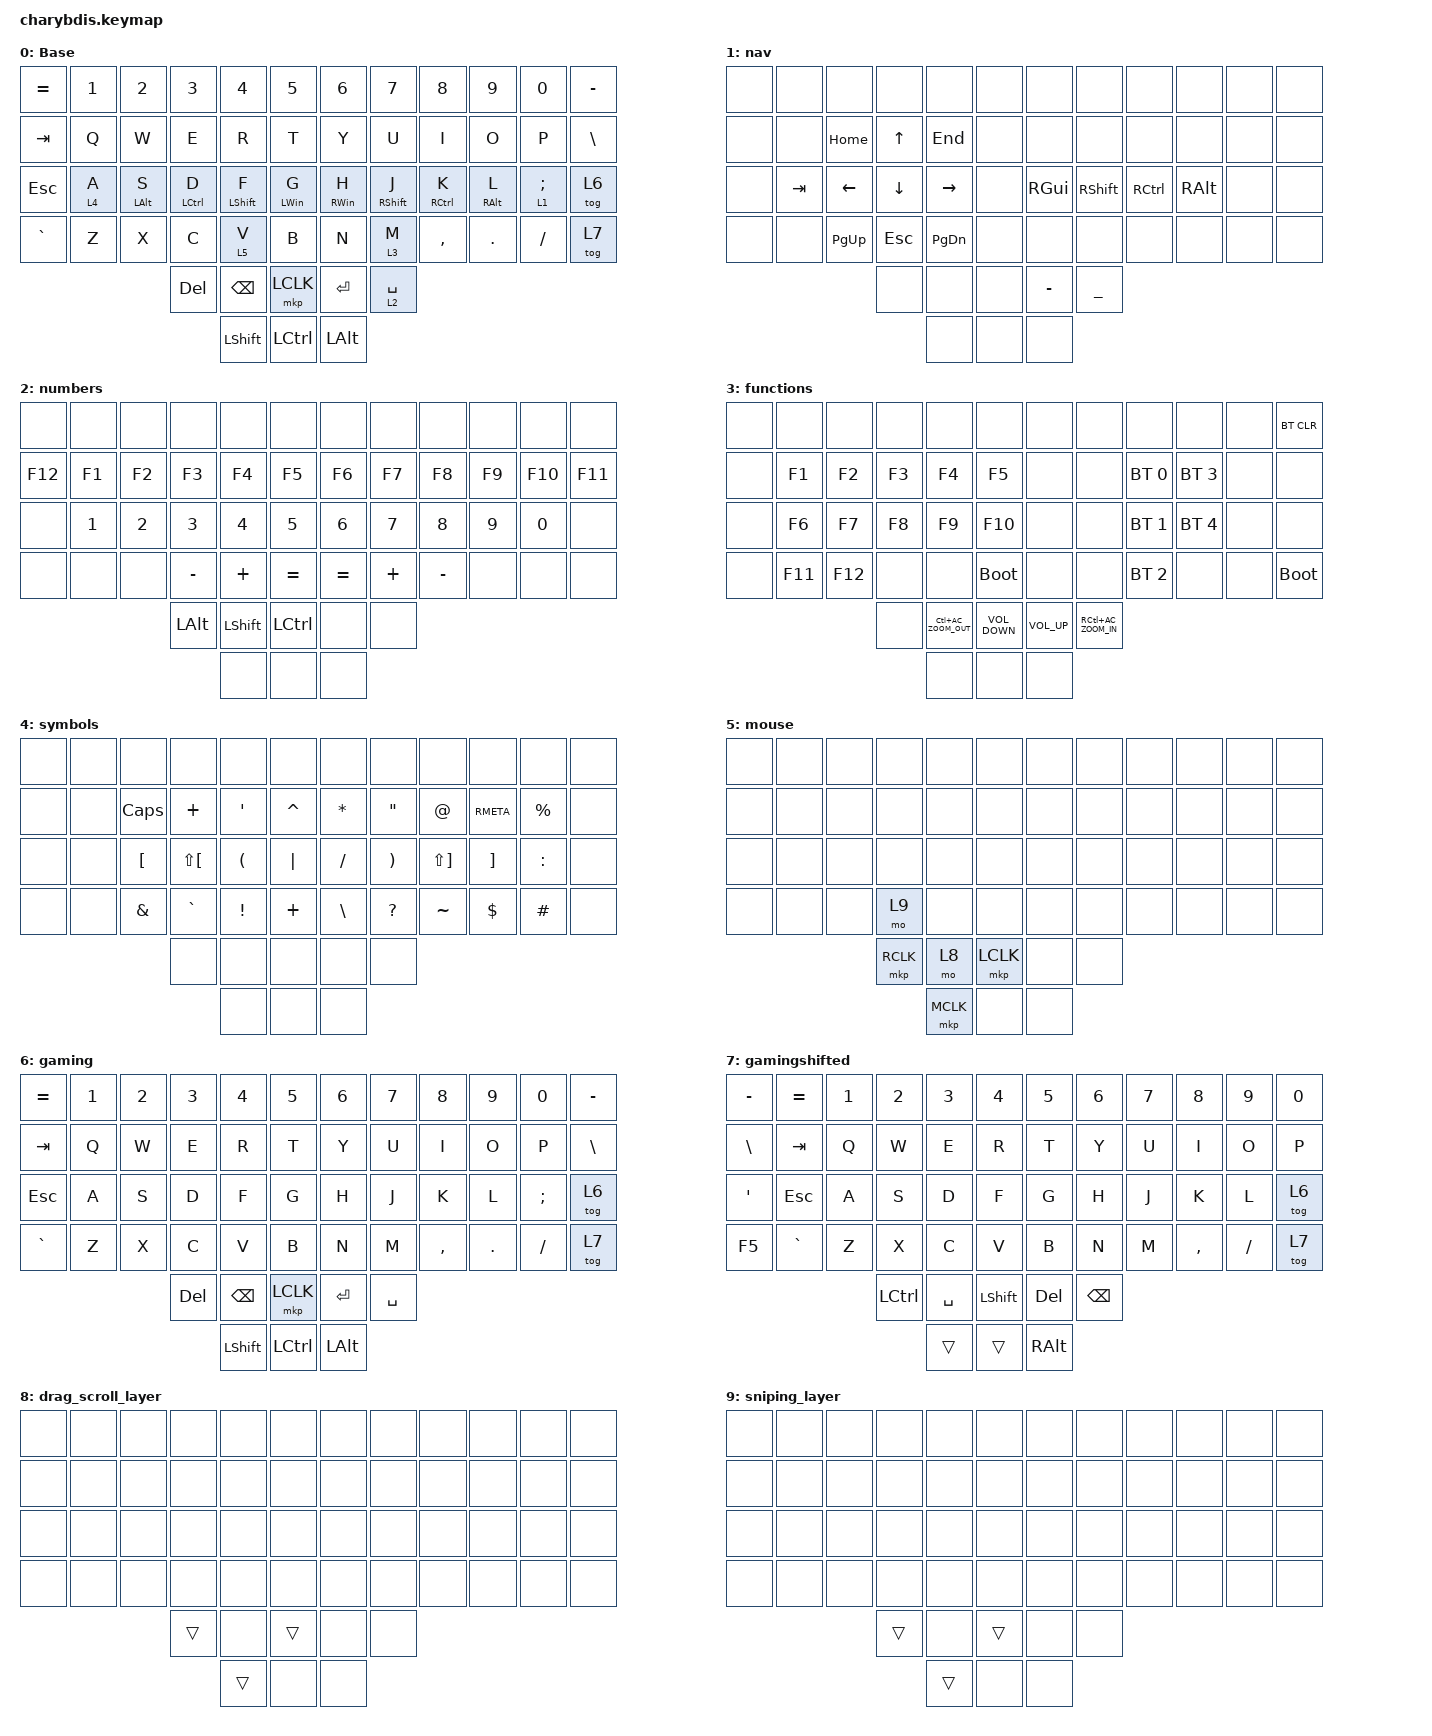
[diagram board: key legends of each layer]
#include <behaviors.dtsi>
#include <dt-bindings/zmk/bt.h>
#include <dt-bindings/zmk/keys.h>
#include <dt-bindings/zmk/mouse.h>

&lt {
    tapping-term-ms = <200>;
    flavor = "balanced";
    quick-tap-ms = <150>;
};

/ {
    combos {
        compatible = "zmk,combos";

        escc {
            bindings = <&kp ESC>;
            key-positions = <17 18>;
            layers = <0>;
        };
    };

    behaviors {
        ht: ht {
            compatible = "zmk,behavior-hold-tap";
            label = "HT";
            bindings = <&kp>, <&kp>;

            #binding-cells = <2>;
            tapping-term-ms = <220>;
            quick-tap-ms = <150>;
            flavor = "tap-preferred";
        }; 
        
		tsl_custom: behavior_trackball_scroll {
			compatible = "zmk,behavior-point-device-incremental";
			label = "TRACKBALL_SCROLL_FINE";
			#trackball-binding-cells = <0>;
            mode = "scroll-mode";
            flavor = "default";
            scale_mode = "dividor";
            scale_factor = <1>;   
            // smoothing;
		};

		tmv_custom: behavior_trackball_move_coarse {
			compatible = "zmk,behavior-point-device-incremental";
			label = "TRACKBALL_MOVE_COARSE";
			#trackball-binding-cells = <0>;
            mode = "move-mode";
            flavor = "default";
            scale_mode = "multiplier";
            scale_factor = <4>;
		};

        tmv_fine_custom: behavior_trackball_move_fine {
			compatible = "zmk,behavior-point-device-incremental";
			label = "TRACKBALL_MOVE_FINE";
			#trackball-binding-cells = <0>;
            mode = "move-mode";
            flavor = "default";
            scale_mode = "dividor";
            scale_factor = <1>;
		};

	};

keymap {
        compatible = "zmk,keymap";

        Base {
            bindings = <
&kp EQUAL   &kp N1   &kp N2          &kp N3       &kp N4            &kp N5              &kp N6        &kp N7             &kp N8       &kp N9           &kp N0           &kp MINUS
&kp TAB     &kp Q    &kp W           &kp E        &kp R             &kp T               &kp Y         &kp U              &kp I        &kp O            &kp P            &kp BACKSLASH
&kp ESCAPE  &lt 4 A  &ht LEFT_ALT S  &ht LCTRL D  &ht LEFT_SHIFT F  &ht LWIN G          &ht RWIN H    &ht RIGHT_SHIFT J  &ht RCTRL K  &ht RIGHT_ALT L  &lt 1 SEMICOLON  &tog 6
&kp GRAVE   &kp Z    &kp X           &kp C        &lt 5 V           &kp B               &kp N         &lt 3 M            &kp COMMA    &kp DOT          &kp SLASH        &tog 7
                                     &kp DELETE   &kp BACKSPACE     &mkp LCLK            &kp ENTER     &lt 2 SPACE
                                                  &kp LEFT_SHIFT    &kp LEFT_CONTROL    &kp LEFT_ALT
            >;

            trackball-bindings = <&tmv_custom>;
        };

        nav {
            bindings = <
&none  &none    &none           &none         &none          &none    &none          &none       &none              &none          &none  &none
&none  &none    &kp HOME        &kp UP_ARROW  &kp END        &none    &none          &none       &none              &none          &none  &none
&none  &kp TAB  &kp LEFT_ARROW  &kp DOWN      &kp RIGHT      &none    &kp RIGHT_GUI  &kp RSHIFT  &kp RIGHT_CONTROL  &kp RIGHT_ALT  &none  &none
&none  &none    &kp PAGE_UP     &kp ESCAPE    &kp PAGE_DOWN  &none    &none          &none       &none              &none          &none  &none
                                &none         &none          &none    &kp MINUS      &kp UNDER
                                              &none          &none    &none
            >;
        };

        numbers {
            bindings = <
&none    &none   &none   &none      &none      &none        &none      &none     &none      &none   &none    &none
&kp F12  &kp F1  &kp F2  &kp F3     &kp F4     &kp F5       &kp F6     &kp F7    &kp F8     &kp F9  &kp F10  &kp F11
&none    &kp N1  &kp N2  &kp N3     &kp N4     &kp N5       &kp N6     &kp N7    &kp N8     &kp N9  &kp N0   &none
&none    &none   &none   &kp MINUS  &kp PLUS   &kp EQUAL    &kp EQUAL  &kp PLUS  &kp MINUS  &none   &none    &none
                         &kp LALT   &kp LSHFT  &kp LCTRL    &none      &none
                                    &none      &none        &none
            >;
        };

        functions {
            bindings = <
&none  &none    &none    &none   &none                  &none                &none            &none                 &none         &none         &none  &bt BT_CLR
&none  &kp F1   &kp F2   &kp F3  &kp F4                 &kp F5               &none            &none                 &bt BT_SEL 0  &bt BT_SEL 3  &none  &none
&none  &kp F6   &kp F7   &kp F8  &kp F9                 &kp F10              &none            &none                 &bt BT_SEL 1  &bt BT_SEL 4  &none  &none
&none  &kp F11  &kp F12  &none   &none                  &bootloader          &none            &none                 &bt BT_SEL 2  &none         &none  &bootloader
                         &none   &kp LC(C_AC_ZOOM_OUT)  &kp C_VOLUME_DOWN    &kp C_VOLUME_UP  &kp RC(C_AC_ZOOM_IN)
                                 &none                  &none                &none
            >;
        };

        symbols {
            bindings = <
&none  &none  &none             &none                 &none                 &none        &none          &none                  &none                  &none              &none        &none
&none  &none  &kp CAPS          &kp PLUS              &kp SQT               &kp CARET    &kp ASTRK      &kp DOUBLE_QUOTES      &kp AT                 &kp RMETA          &kp PERCENT  &none
&none  &none  &kp LEFT_BRACKET  &kp LS(LEFT_BRACKET)  &kp LEFT_PARENTHESIS  &kp PIPE     &kp SLASH      &kp RIGHT_PARENTHESIS  &kp LS(RIGHT_BRACKET)  &kp RIGHT_BRACKET  &kp COLON    &none
&none  &none  &kp AMPERSAND     &kp GRAVE             &kp EXCLAMATION       &kp PLUS     &kp BACKSLASH  &kp QUESTION           &kp TILDE              &kp DOLLAR         &kp HASH     &none
                                &none                 &none                 &none        &none          &none
                                                      &none                 &none        &none
            >;
        };


mouse {
            bindings = <
&none  &none  &none  &none      &none      &none        &none  &none  &none  &none  &none  &none
&none  &none  &none  &none      &none      &none        &none  &none  &none  &none  &none  &none
&none  &none  &none  &none      &none      &none        &none  &none  &none  &none  &none  &none
&none  &none  &none  &mo 9      &none      &none        &none  &none  &none  &none  &none  &none
                     &mkp RCLK  &mo 8      &mkp LCLK    &none  &none
                                &mkp MCLK  &none        &none
            >;

            trackball-bindings = <&tmv_coarse>;
        };

        gaming {
            bindings = <
&kp EQUAL  &kp N1  &kp N2  &kp N3      &kp N4          &kp N5       &kp N6        &kp N7     &kp N8     &kp N9   &kp N0     &kp MINUS
&kp TAB    &kp Q   &kp W   &kp E       &kp R           &kp T        &kp Y         &kp U      &kp I      &kp O    &kp P      &kp BSLH
&kp ESC    &kp A   &kp S   &kp D       &kp F           &kp G        &kp H         &kp J      &kp K      &kp L    &kp SEMI   &tog 6
&kp GRAVE  &kp Z   &kp X   &kp C       &kp V           &kp B        &kp N         &kp M      &kp COMMA  &kp DOT  &kp SLASH  &tog 7
                           &kp DELETE  &kp BSPC        &mkp LCLK     &kp ENTER     &kp SPACE
                                       &kp LEFT_SHIFT  &kp LCTRL    &kp LEFT_ALT
            >;
        };

        gamingshifted {
            bindings = <
&kp MINUS  &kp EQUAL  &kp N1  &kp N2     &kp N3     &kp N4            &kp N5         &kp N6         &kp N7  &kp N8     &kp N9     &kp N0
&kp BSLH   &kp TAB    &kp Q   &kp W      &kp E      &kp R             &kp T          &kp Y          &kp U   &kp I      &kp O      &kp P
&kp APOS   &kp ESC    &kp A   &kp S      &kp D      &kp F             &kp G          &kp H          &kp J   &kp K      &kp L      &tog 6
&kp F5     &kp GRAVE  &kp Z   &kp X      &kp C      &kp V             &kp B          &kp N          &kp M   &kp COMMA  &kp SLASH  &tog 7
                              &kp LCTRL  &kp SPACE  &kp LEFT_SHIFT    &kp DELETE     &kp BACKSPACE
                                         &trans     &trans            &kp RIGHT_ALT
            >;
        };

        // New drag scroll layer (layer 8)

        drag_scroll_layer {
            bindings = <
&none  &none  &none  &none   &none   &none     &none  &none  &none  &none  &none  &none
&none  &none  &none  &none   &none   &none     &none  &none  &none  &none  &none  &none
&none  &none  &none  &none   &none   &none     &none  &none  &none  &none  &none  &none
&none  &none  &none  &none   &none   &none     &none  &none  &none  &none  &none  &none
                     &trans  &none   &trans    &none  &none
                             &trans  &none     &none
            >;

            trackball-bindings = <&tsl_custom>;
        };

        // New sniping layer (layer 9)

        sniping_layer {
            bindings = <
&none  &none  &none  &none   &none   &none     &none  &none  &none  &none  &none  &none
&none  &none  &none  &none   &none   &none     &none  &none  &none  &none  &none  &none
&none  &none  &none  &none   &none   &none     &none  &none  &none  &none  &none  &none
&none  &none  &none  &none   &none   &none     &none  &none  &none  &none  &none  &none
                     &trans  &none   &trans    &none  &none
                             &trans  &none     &none
            >;

            trackball-bindings = <&tmv_fine>;
        };
    };
};

